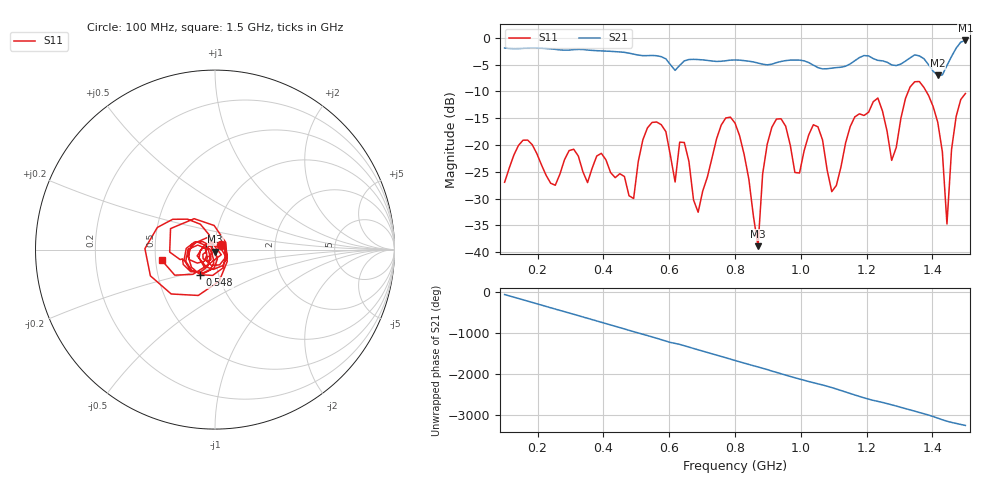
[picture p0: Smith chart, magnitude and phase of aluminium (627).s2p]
! NanoVNA-App
! Date: 2025-09-25 15:00:09
! Start: 100MHz Stop: 1,5GHz Points: 101
! S-Parameter data: F S11 S21 S12 S22
# Hz S RI R 50
!  Frequency  S11_Real  S11_Imag  S21_Real  S21_Imag  S12_Real  S12_Imag  S22_Real  S22_Imag
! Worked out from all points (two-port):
!   101 points, 100 MHz to 1.5 GHz, reference 50 ohm
!   highest |S21| = -0.51 dB at 1.5 GHz (marker M1); lowest = -7.0 dB at 1.416 GHz (marker M2)
!   |S21| within 3 dB of the highest: start of sweep to 574.1 MHz; 1.458 GHz to end of sweep (the widest 2 of 4)
!   lowest |S11| = -38.9 dB at 870 MHz (marker M3), VSWR 1.02, Z = 50.1 - j1.13 ohm
!   |S11| at or under -10 dB: start of sweep to 1.327 GHz; 1.381 GHz to end of sweep
!   S12 and S22 are empty: the file has one direction only
!   S11 on the Smith chart (normalised r, x): 100 MHz: 1.07, +0.06; 548 MHz: 0.82, -0.24; 1.5 GHz: 0.54, -0.07
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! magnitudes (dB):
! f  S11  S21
! 100 MHz  -27.0  -1.9
! 156 MHz  -19.1  -2.0
! 338 MHz  -25.0  -2.2
! 492 MHz  -30.0  -3.1
! 548 MHz  -15.8  -3.3
! 576 MHz  -16.2  -3.5
! 618 MHz  -26.9  -6.1
! 646 MHz  -19.5  -4.3
! 688 MHz  -32.5  -4.1
! 800 MHz  -15.9  -4.1
! 870 MHz  -38.9  -4.7
! 912 MHz  -16.7  -4.9
! 996 MHz  -25.2  -4.2
! 1.038 GHz  -16.2  -5.1
! 1.094 GHz  -28.7  -5.7
! 1.234 GHz  -11.2  -4.2
! 1.276 GHz  -22.9  -5.1
! 1.346 GHz  -8.2  -3.2
! 1.416 GHz  -15.8  -7.0
! 1.444 GHz  -34.7  -5.2
! 1.472 GHz  -14.7  -1.9
! 1.5 GHz  -10.4  -0.5
